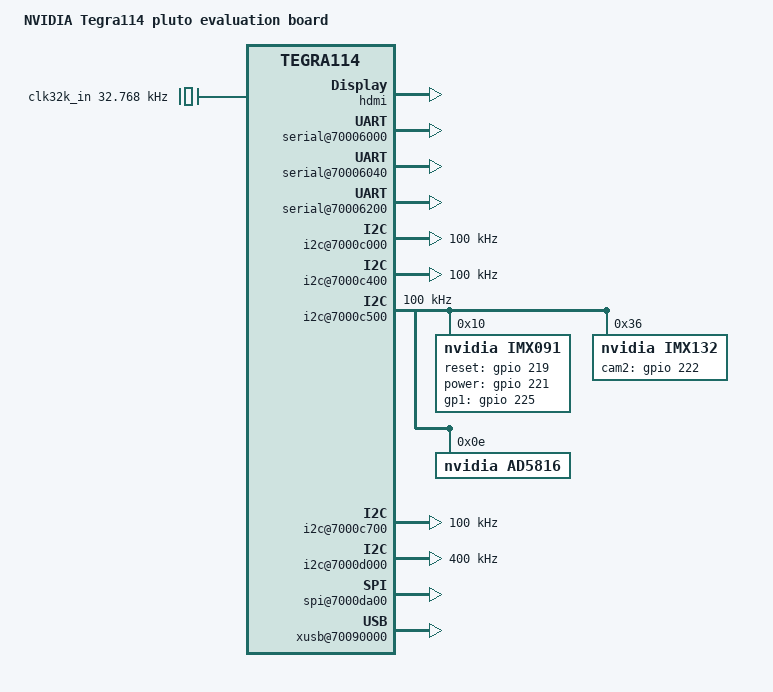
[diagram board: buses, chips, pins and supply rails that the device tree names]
/dts-v1/;

/include/ "tegra114.dtsi"
/include/ "panel-l-720p-5.dts"
#include <tegra114-platforms/tegar114-pluto-e1580-gpio-default.dtsi>
#include <tegra114-platforms/tegar114-pluto-e1580-pinmux.dtsi>

/ {
	model = "NVIDIA Tegra114 pluto evaluation board";
	compatible = "nvidia,pluto", "nvidia,tegra114";

	host1x {
		dsi {
			nvidia,controller-vs = <1>;
			status = "disabled";
			panel-l-720p-5 {
				nvidia,dsi-panel-rst-gpio = <&gpio 61 0>; /* PH5 */
				nvidia,dsi-panel-bl-en-gpio = <&gpio 58 0>; /* PH2 */
				nvidia,dsi-panel-bl-pwm-gpio = <&gpio 57 0>; /* PH1 */
			};
		};

		hdmi {
			status = "okay";
		};
	};

	pinmux {
		status = "okay";
	};

	keyboard: keyboard@7000e200 {
		compatible = "nvidia,tegra114-kbc";
		reg = <0x7000e200 0x100>;
		interrupts = <0 85 0x04>;
		nvidia,ghost-filter;
		nvidia,wakeup-source;
		nvidia,debounce-delay-ms = <640>;
		nvidia,kbc-row-pins = <0 1 2>;    /* pin 0, 1, 2 as rows */
		nvidia,kbc-col-pins = <11 12 13>; /* pin 11, 12, 13 as columns */
		linux,keymap = <0x00000074
				0x00010073
				0x00020072
				0x010000D9
				0x010100D4
				0x010200D2
				0x02000066
				0x0201009E
				0x0202008B>;
		status = "disable";
	};

	serial@70006000 {
		compatible = "nvidia,tegra114-hsuart";
		status = "okay";
	};

	serial@70006040 {
		compatible = "nvidia,tegra114-hsuart";
		status = "okay";
	};

	serial@70006200 {
		compatible = "nvidia,tegra114-hsuart";
		status = "okay";
	};

	i2c@7000c000 {
		status = "okay";
		clock-frequency = <100000>;
	};

	i2c@7000c400 {
		status = "okay";
		clock-frequency = <100000>;
	};

	i2c@7000c500 {
		status = "okay";
		clock-frequency = <100000>;

		imx091@10 {
			compatible = "nvidia,imx091";
			reg = <0x10>;
			nvidia,vcm_vdd; /* flag for vcm_vdd extra regulator */
			nvidia,i2c_vdd; /* flag for i2c_vdd extra regulator */


			nvidia,num = <0>;
			nvidia,sync = <0>;
			nvidia,dev_name = "camera";

			/* edpc config */
			nvidia,imx091_estates = <876 656 220 0>;
			nvidia,num_states = <4>;
			nvidia,e0_index = <0>;
			nvidia,priority = <1>;

			/* imx091 gpios */
			reset-gpios = <&gpio 219 0>; /* gpio PBB3 */
			power-gpios = <&gpio 221 0>; /* gpio PBB6 */
			gp1-gpios = <&gpio 225 0>; /* gpio PCC1 */

			/* imx091 caps */
			nvidia,identifier = "IMX091";
			nvidia,sensor_nvc_interface = <3>;
			nvidia,pixel_types = <0x100>;
			nvidia,orientation = <0>;
			nvidia,direction = <0>;
			nvidia,initial_clock_rate_khz = <6000>;
			nvidia,h_sync_edge = <0>;
			nvidia,v_sync_edge = <0>;
			nvidia,mclk_on_vgp0 = <0>;
			nvidia,csi_port = <0>;
			nvidia,data_lanes = <4>;
			nvidia,virtual_channel_id = <0>;
			nvidia,discontinuous_clk_mode = <1>;
			nvidia,cil_threshold_settle = <0x0>;
			nvidia,min_blank_time_width = <16>;
			nvidia,min_blank_time_height = <16>;
			nvidia,preferred_mode_index = <0>;
			nvidia,external_clock_khz_0 = <24000>;
			nvidia,clock_multiplier_0 = <850000>;
			nvidia,external_clock_khz_1 = <0>;
			nvidia,clock_multiplier_1 = <0>;

			/* flash caps */
			nvidia,sdo_trigger_enabled;
			nvidia,adjustable_flash_timing;

			status = "okay";

		};

		imx132@36 {
			compatible = "nvidia,imx132";
			cam2_gpios = <&gpio 222 0>; /* gpio PBB6 */
			reg = <0x36>;
			nvidia,ext_reg; /* Extra power-regulators needed */
			status = "okay";
		};

		ad5816@0E {
			compatible = "nvidia,ad5816";
			reg = <0x0E>;
			nvidia,cfg = <0>;
			nvidia,num = <0>;
			nvidia,sync = <0>;
			nvidia,dev_name = "focuser";
			status = "okay";
		};
	};

	i2c@7000c700 {
		status = "okay";
		clock-frequency = <100000>;
	};

	i2c@7000d000 {
		status = "okay";
		clock-frequency = <400000>;
		nvidia,bit-banging-xfer-after-shutdown;
	};

	spi@7000da00 {
		status = "okay";
		spi-max-frequency = <25000000>;
		nvidia,dma-request-selector = <&apbdma 0>;
	};

	pmc {
		status = "okay";
		nvidia,suspend-mode = <0>;
		nvidia,cpu-pwr-good-time = <300>;
		nvidia,cpu-pwr-off-time = <300>;
		nvidia,core-pwr-good-time = <3845 3845>;
		nvidia,core-pwr-off-time = <2000>;
		nvidia,core-power-req-active-high;
		nvidia,sys-clock-req-active-high;
	};

	sdhci@78000600 {
		tap-delay = <5>;
		trim-delay = <3>;
		ddr-clk-limit = <41000000>;
		base-clk = <104000000>;
		mmc-ocr-mask = <0>;
		bus-width = <8>;
		built-in;
		edp_support;
		edp_states = <966 0>;
		status = "disabled";
	};
	sdhci@78000400 {
		cd-gpios = <&gpio 170 0>; /* gpio PV2 */
		tap-delay = <3>;
		trim-delay = <3>;
		ddr-clk-limit = <41000000>;
		base-clk = <208000000>;
		edp_support;
		edp_states = <966 0>;
		bus-width = <4>;
		status = "disabled";
	};
	sdhci@78000000 {
		status = "disabled";
	};

	camera {
		status = "okay";
	};

	clocks {
		compatible = "simple-bus";
		#address-cells = <1>;
		#size-cells = <0>;

		clk32k_in: clock {
			compatible = "fixed-clock";
			reg=<0>;
			#clock-cells = <0>;
			clock-frequency = <32768>;
		};
	};

	xusb@70090000 {
		nvidia,uses_external_pmic;
		/* nvidia,gpio_controls_muxed_ss_lanes; */
		nvidia,gpio_ss1_sata = <0>;
		nvidia,portmap = <0x101>; /* SSP0, USB2P0 */
		nvidia,ss_portmap = <0x0>; /* SSP0 on USB2P0 */
		nvidia,lane_owner = <0>; /* NULL */
		nvidia,ulpicap = <0>; /* No ulpi support. can we remove */
		nvidia,supply_utmi_vbuses = "usb_vbus", "", "";
		nvidia,supply_s3p3v = "hvdd_usb";
		nvidia,supply_s1p8v = "avdd_usb_pll";
		nvidia,supply_vddio_hsic = "vddio_hsic";
		nvidia,supply_s1p05v = "avddio_usb";
		status = "okay";
	};
};
